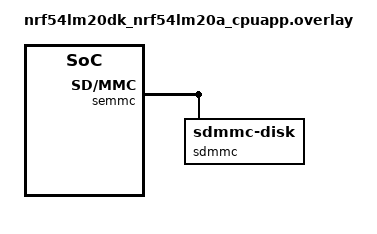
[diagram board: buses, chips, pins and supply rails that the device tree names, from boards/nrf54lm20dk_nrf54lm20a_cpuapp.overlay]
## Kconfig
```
#
# Copyright (c) 2026 Nordic Semiconductor ASA
#
# SPDX-License-Identifier: LicenseRef-Nordic-5-Clause
#

menu "Logging"

module = SD_MMC
module-str = sd-mmc
source "subsys/logging/Kconfig.template.log_config"

endmenu # Log levels

source "Kconfig.zephyr"
```

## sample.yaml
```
sample:
  name: nRF-Audio-EB smoke test
  description: >
    This sample is used to evaluate if the sEMMC peripheral
    will operate with the audio EB.
tests:
  sample.nrf_audio_eb.smoke:
    build_only: true
    tags: sd mmc
    platform_allow:
      - nrf54lm20dk/nrf54lm20a/cpuapp
    integration_platforms:
      - nrf54lm20dk/nrf54lm20a/cpuapp
```

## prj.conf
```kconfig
# Copyright (c) 2026 Nordic Semiconductor ASA
#
# SPDX-License-Identifier: LicenseRef-Nordic-5-Clause
#

CONFIG_LOG=y

CONFIG_GPIO=y

CONFIG_SDHC=y
CONFIG_SDHC_NRF_SEMMC=y
CONFIG_DISK_ACCESS=y
CONFIG_FILE_SYSTEM=y
CONFIG_FAT_FILESYSTEM_ELM=y

CONFIG_MAIN_STACK_SIZE=4096
CONFIG_HEAP_MEM_POOL_SIZE=8192
CONFIG_PRINTK=y
CONFIG_CBPRINTF_FP_SUPPORT=n
```

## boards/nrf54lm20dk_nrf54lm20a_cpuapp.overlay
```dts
/*
 * Copyright (c) 2026 Nordic Semiconductor ASA
 *
 * SPDX-License-Identifier: LicenseRef-Nordic-5-Clause
 */

#include <zephyr/dt-bindings/gpio/gpio.h>
#include <zephyr/dt-bindings/input/input-event-codes.h>
#include <zephyr/dt-bindings/pinctrl/nrf-pinctrl.h>

#define CAT_(A,B) A ## B
#define CAT(A,B) CAT_(A, B)

#define SEMMC_GPIO_NUM 2
#define SEMMC_GPIO CAT(gpio, SEMMC_GPIO_NUM)
#define SEMMC_GPIO_SCK 1
#define SEMMC_GPIO_DQ0 2
#define SEMMC_GPIO_DQ1 4
#define SEMMC_GPIO_DQ2 3
#define SEMMC_GPIO_DQ3 0
#define SEMMC_GPIO_CS0 5

#define EN_IN_CH1_BIT  BIT(0)
#define EN_IN_CH2_BIT  BIT(1)
#define EN_IN_CH3_BIT  BIT(2)
#define EN_IN_CH4_BIT  BIT(3)

#define EN_OUT_CH1_BIT BIT(0)
#define EN_OUT_CH2_BIT BIT(1)
#define EN_OUT_CH3_BIT BIT(2)
#define EN_OUT_CH4_BIT BIT(3)

/ {
	aliases {
		sdhc0 = &semmc;
	};
};

&pinctrl {
	semmc_default: semmc_default {
		group1 {
			psels = <NRF_PSEL(SDP_MSPI_SCK, SEMMC_GPIO_NUM, SEMMC_GPIO_SCK)>;
			nordic,drive-mode = <NRF_DRIVE_E0E1>;
			bias-pull-down;
		};

		group2 {
			psels = <NRF_PSEL(SDP_MSPI_DQ0, SEMMC_GPIO_NUM, SEMMC_GPIO_DQ0)>,
				<NRF_PSEL(SDP_MSPI_DQ1, SEMMC_GPIO_NUM, SEMMC_GPIO_DQ1)>,
				<NRF_PSEL(SDP_MSPI_DQ2, SEMMC_GPIO_NUM, SEMMC_GPIO_DQ2)>,
				<NRF_PSEL(SDP_MSPI_DQ3, SEMMC_GPIO_NUM, SEMMC_GPIO_DQ3)>,
				<NRF_PSEL(SDP_MSPI_CS0, SEMMC_GPIO_NUM, SEMMC_GPIO_CS0)>;
			nordic,drive-mode = <NRF_DRIVE_E0E1>;
			bias-pull-up;
		};
	};

	semmc_sleep: semmc_sleep {
		group1 {
			low-power-enable;
			psels = <NRF_PSEL(SDP_MSPI_SCK, SEMMC_GPIO_NUM, SEMMC_GPIO_SCK)>,
				<NRF_PSEL(SDP_MSPI_DQ0, SEMMC_GPIO_NUM, SEMMC_GPIO_DQ0)>,
				<NRF_PSEL(SDP_MSPI_DQ1, SEMMC_GPIO_NUM, SEMMC_GPIO_DQ1)>,
				<NRF_PSEL(SDP_MSPI_DQ2, SEMMC_GPIO_NUM, SEMMC_GPIO_DQ2)>,
				<NRF_PSEL(SDP_MSPI_DQ3, SEMMC_GPIO_NUM, SEMMC_GPIO_DQ3)>,
				<NRF_PSEL(SDP_MSPI_CS0, SEMMC_GPIO_NUM, SEMMC_GPIO_CS0)>;
		};
	};
};

&spi00 {
	status = "disabled";
};

&cpuflpr_vpr {
	pinctrl-0 = <&semmc_default>;
	pinctrl-1 = <&semmc_sleep>;
	pinctrl-names = "default", "sleep";
	interrupts = <76 NRF_DEFAULT_IRQ_PRIORITY>;
	status = "okay";
	/delete-property/ execution-memory;
};

/ {
	reserved-memory {
		#address-cells = <1>;
		#size-cells = <1>;
		ranges;

		softperiph_ram: memory@2007b000 {
			reg = <0x2007b000 0x4c00>;
			ranges = <0 0x2007b000 0x4c00>;
			#address-cells = <1>;
			#size-cells = <1>;

			semmc: semmc@4200 {
				compatible = "nordic,nrf-semmc";
				#address-cells = <1>;
				#size-cells = <0>;
				reg = <0x4200 0x200>;
				zephyr,pm-device-runtime-auto;

				sdmmc {
					compatible = "zephyr,sdmmc-disk";
					disk-name = "SD";
					status = "okay";
				};
			};
		};
	};
};
```

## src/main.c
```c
/*
 * Copyright (c) 2026 Nordic Semiconductor ASA
 *
 * SPDX-License-Identifier: LicenseRef-Nordic-5-Clause
 */

#include <math.h>
#include <string.h>
#include <zephyr/kernel.h>
#include <zephyr/device.h>
#include <zephyr/drivers/gpio.h>
#include <zephyr/drivers/spi.h>
#include <zephyr/fs/fs.h>

#include <zephyr/logging/log.h>
LOG_MODULE_REGISTER(sdmmc, CONFIG_SD_MMC_LOG_LEVEL);

#if DT_HAS_COMPAT_STATUS_OKAY(zephyr_sdmmc_disk)
#if defined(CONFIG_FAT_FILESYSTEM_ELM)

#include <ff.h>

#if defined(CONFIG_DISK_DRIVER_MMC)
#define DISK_DRIVE_NAME "SD2"
#else
#define DISK_DRIVE_NAME "SD"
#endif

#define DISK_MOUNT_PT "/" DISK_DRIVE_NAME ":"

static FATFS fat_fs;
/* mounting info */
static struct fs_mount_t sd_mp = {
	.type = FS_FATFS,
	.fs_data = &fat_fs,
	.mnt_point = DISK_MOUNT_PT,
};

#elif defined(CONFIG_FILE_SYSTEM_EXT2)

#include <zephyr/fs/ext2.h>

#define DISK_DRIVE_NAME "SD"
#define DISK_MOUNT_PT	"/ext"

static struct fs_mount_t sd_mp = {
	.type = FS_EXT2,
	.flags = FS_MOUNT_FLAG_NO_FORMAT,
	.storage_dev = (void *)DISK_DRIVE_NAME,
	.mnt_point = "/ext",
};
#endif

static void test_sdcard(void)
{
	int ret;
	struct fs_statvfs st;
	struct fs_dir_t dir;

	LOG_INF("[SD]   mount %s (soft eMMC, 4-bit)", sd_mp.mnt_point);

	ret = fs_mount(&sd_mp);
	if (ret) {
		LOG_ERR("  fs_mount failed (ret = %d): card inserted/formatted?", ret);
		return;
	}

	if (fs_statvfs(sd_mp.mnt_point, &st) == 0) {
		unsigned long total_kb =
			(unsigned long)((uint64_t)st.f_blocks * st.f_frsize / 1024);
		unsigned long free_kb = (unsigned long)((uint64_t)st.f_bfree * st.f_frsize / 1024);

		LOG_INF("  mounted: %lu KB total, %lu KB free", total_kb, free_kb);
	}

	fs_dir_t_init(&dir);

	if (fs_opendir(&dir, sd_mp.mnt_point) == 0) {
		struct fs_dirent ent;
		int n = 0;

		while (fs_readdir(&dir, &ent) == 0 && ent.name[0] != '\0') {
			LOG_INF("   %s %s (%zu)", ent.type == FS_DIR_ENTRY_DIR ? "[D]" : "[F]",
				ent.name, ent.size);
			n++;
		}

		LOG_INF("  %d root entries", n);

		fs_closedir(&dir);
	}

	/* Write/read round-trip to confirm the 4-bit data path end to end. */
	{
		static const char msg[] = "nRF-Audio-EB sEMMC 4-bit round-trip";
		const char *path = DISK_MOUNT_PT "/eb_test.txt";
		char buf[sizeof(msg)] = {0};
		struct fs_file_t file;
		ssize_t wr, rd;

		fs_file_t_init(&file);
		ret = fs_open(&file, path, FS_O_CREATE | FS_O_WRITE);
		if (ret) {
			LOG_ERR("  fs_open(%s, write) failed (%d)", path, ret);
		} else {
			wr = fs_write(&file, msg, sizeof(msg));
			(void)fs_close(&file);

			if (wr != (ssize_t)sizeof(msg)) {
				LOG_ERR("  fs_write returned %d (expected %u)", (int)wr,
					(unsigned int)sizeof(msg));
			} else {
				LOG_INF("  wrote %d bytes to %s", (int)wr, path);

				fs_file_t_init(&file);
				ret = fs_open(&file, path, FS_O_READ);
				if (ret) {
					LOG_ERR("  fs_open(%s, read) failed (%d)", path, ret);
				} else {
					rd = fs_read(&file, buf, sizeof(buf));
					(void)fs_close(&file);

					if (rd == (ssize_t)sizeof(msg) &&
					    memcmp(buf, msg, sizeof(msg)) == 0) {
						LOG_INF("  read-back OK (%d bytes): \"%s\"",
							(int)rd, buf);
					} else {
						LOG_ERR("  read-back MISMATCH (rd=%d)", (int)rd);
					}
				}
			}
		}
	}

	fs_unmount(&sd_mp);
}
#else
static void test_sdcard(void)
{
	LOG_WRN("[SD]   not on this board -- skipped");
}
#endif /* DT_HAS_COMPAT_STATUS_OKAY(zephyr_sdmmc_disk) */

int main(void)
{
	LOG_INF("==============================");
	LOG_INF(" QSPI SD/MMC shield smoke test");
	LOG_INF("==============================");

	test_sdcard();

	LOG_INF("===== smoke test complete =====");
	return 0;
}
```
